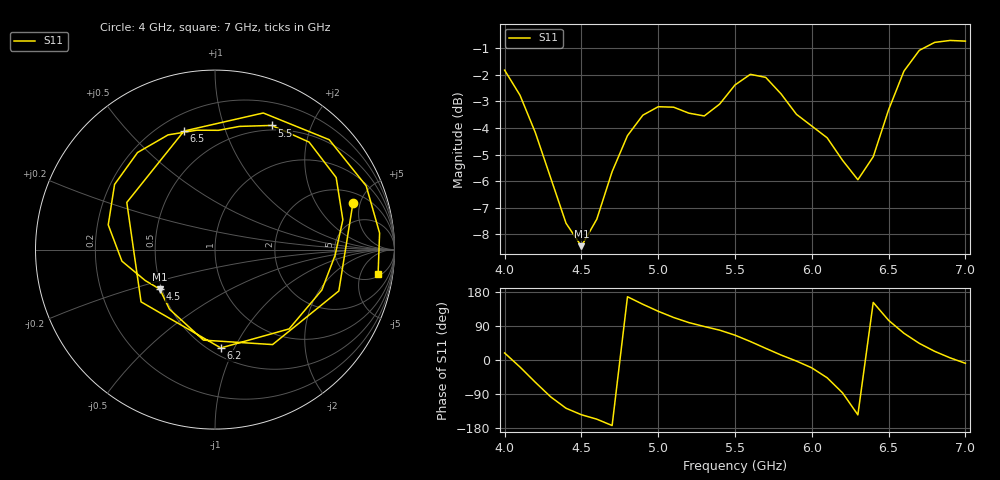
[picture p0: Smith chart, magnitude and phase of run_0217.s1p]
! Touchstone file exported from HFSS 2024.2.0
!  File:  C:/Users/wsak9/Desktop/Sim Fast/Widenad Patch/WP_AI_V1_sweep.aedt
!  Generated:  12:02:42 AM Oct 14, 2026
!  Design:  A1_model
!  Project:  WP_AI_V1_sweep
!  Setup:  Setup1
!  Solution:  Sweep
! Variables:
!  Air_gap = 3.01mm
!  Curve_Amp1 = 3.24
!  Curve_len1 = 1
!  Curve_pos = 11.955mm
!  Extra = 1.35mm
!  H_sub = 0.79mm
!  L_Patch = 19.91mm
!  L_Patch1 = 17.24mm
!  Sx = 3.55mm
!  Sy = 1.06mm
!  WS = 1.12mm
!  W_Patch = 21.36mm
!  W_Patch1 = 15.89mm
!Data is not renormalized
# GHz S MA
! Terminal data exported
! Port[1] = 1
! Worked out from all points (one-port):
!   31 points, 4 GHz to 7 GHz, reference per port
!   lowest |S11| = -8.4 dB at 4.5 GHz (marker M1), VSWR 2.22
!   |S11| at or under -10 dB: nowhere
!   S11 on the Smith chart (normalised r, x): 4 GHz: 2.85, +4.29; 4.5 GHz: 0.49, -0.25; 5.5 GHz: 0.45, +1.46; 6.2 GHz: 0.57, -0.89; 6.5 GHz: 0.29, +0.73; 7 GHz: 6, -10
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4  0.8106 18.6
4.1  0.7274 -18.5
4.2  0.6188 -58.8
4.3  0.5085 -97.3
4.4  0.4179 -127.3
4.5  0.3785 -144.4
4.7  0.5225 -172.9
4.8  0.6106 167.0
4.9  0.667 147.0
5  0.6919 128.6
5.2  0.6729 98.6
5.4  0.6998 78.8
5.5  0.7602 65.5
5.6  0.796 48.8
5.7  0.7856 30.8
5.8  0.7314 13.1
5.9  0.6696 -2.8
6  0.6365 -20.7
6.1  0.6048 -46.9
6.2  0.5488 -86.6
6.3  0.5045 -144.8
6.4  0.5573 151.9
6.5  0.6828 104.7
6.6  0.8073 70.5
6.7  0.883 43.9
6.8  0.914 22.8
6.9  0.9217 5.7
7  0.9191 -8.7
